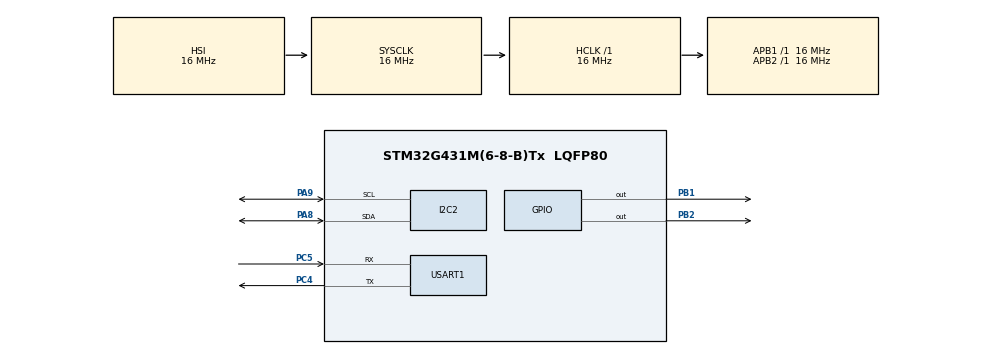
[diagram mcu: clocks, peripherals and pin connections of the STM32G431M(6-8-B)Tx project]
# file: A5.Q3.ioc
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I2C2.Timing=0x00503D58
Mcu.Family=STM32G4
Mcu.Name=STM32G431M(6-8-B)Tx
Mcu.Package=LQFP80
NVIC.PriorityGroup=NVIC_PRIORITYGROUP_4
PA13.Mode=Serial_Wire
PA13.Signal=SYS_JTMS-SWDIO
PA14.Mode=Serial_Wire
PA14.Signal=SYS_JTCK-SWCLK
PA8.Mode=I2C
PA8.Signal=I2C2_SDA
PA9.Mode=I2C
PA9.Signal=I2C2_SCL
PB1.Signal=GPIO_Output
PB2.Signal=GPIO_Output
PC4.Mode=Asynchronous
PC4.Signal=USART1_TX
PC5.Mode=Asynchronous
PC5.Signal=USART1_RX
ProjectManager.HeapSize=0x200
ProjectManager.StackSize=0x400
ProjectManager.TargetToolchain=STM32CubeIDE
RCC.AHBFreq_Value=16000000
RCC.APB1Freq_Value=16000000
RCC.APB1TimFreq_Value=16000000
RCC.APB2Freq_Value=16000000
RCC.APB2TimFreq_Value=16000000
RCC.CortexFreq_Value=16000000
RCC.EXTERNAL_CLOCK_VALUE=12288000
RCC.HCLKFreq_Value=16000000
RCC.HSE_VALUE=8000000
RCC.HSI48_VALUE=48000000
RCC.HSI_VALUE=16000000
RCC.LSE_VALUE=32768
RCC.SYSCLKFreq_VALUE=16000000
RCC.USBFreq_Value=64000000
RCC.VCOOutputFreq_Value=128000000
USART1.VirtualMode-Asynchronous=VM_ASYNC
VP_SYS_VS_DBSignals.Mode=DisableDeadBatterySignals
board=custom

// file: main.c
/* USER CODE BEGIN Header */
/**
  ******************************************************************************
  * @file           : main.c
  * @brief          : Main program body
  ******************************************************************************
  * @attention
  *
  * Copyright (c) 2024 STMicroelectronics.
  * All rights reserved.
  *
  * This software is licensed under terms that can be found in the LICENSE file
  * in the root directory of this software component.
  * If no LICENSE file comes with this software, it is provided AS-IS.
  *
  ******************************************************************************
  */
/* USER CODE END Header */
#include "main.h"

I2C_HandleTypeDef hi2c2;

UART_HandleTypeDef huart1;

void SystemClock_Config(void);
static void MX_GPIO_Init(void);
static void MX_I2C2_Init(void);
static void MX_USART1_UART_Init(void);

int main(void)
{

  /* MCU Configuration--------------------------------------------------------*/

  /* Reset of all peripherals, Initializes the Flash interface and the Systick. */
  HAL_Init();

  /* Configure the system clock */
  SystemClock_Config();

  /* Initialize all configured peripherals */
  MX_GPIO_Init();
  MX_I2C2_Init();
  MX_USART1_UART_Init();
  /* USER CODE BEGIN 2 */

#define SHT3_ADDRESS_WRITE (0x70 << 1)
#define SHT3_ADDRESS_READ (0x70 << 1) | 0x01

  uint8_t regTemp[2];
  uint8_t rawTemp[2];
  regTemp[0] = 0x7C;
  regTemp[1] = 0xA2;
  uint16_t rawTemp16;
  float temp;
  char printBuff[64]={0};

 if(HAL_I2C_IsDeviceReady(&hi2c2, SHT3_ADDRESS_WRITE, 2, 100)==0){
	 HAL_UART_Transmit(&huart1, "\n\rDevise is ready", sizeof("\n\rDevice is ready"),1000);

 }else{

	 HAL_UART_Transmit(&huart1, "\n\rDevise NOT ready", sizeof("\n\rDevice NOT ready"),1000);
	 return 0;
 }
  /* USER CODE END 2 */

  /* Infinite loop */
  /* USER CODE BEGIN WHILE */
  while (1)
  {
	  	  	HAL_I2C_Master_Transmit(&hi2c2, SHT3_ADDRESS_WRITE, regTemp, 2, 100);
	        HAL_Delay(30);

	        HAL_I2C_Master_Receive(&hi2c2, SHT3_ADDRESS_READ, rawTemp, 2, 100);

	        rawTemp16 = ((rawTemp[0]<<8) | rawTemp[1]);

	        temp = ((float)175*(float)rawTemp16/(float)65535)-(float)45;

	        sprintf(printBuff,"\n\rTemperature : %.1f Degrees", temp);

	        HAL_UART_Transmit(&huart1, printBuff, sizeof(printBuff), 100);

	        memset(printBuff,0,sizeof(printBuff));
	        HAL_Delay(2000);

	        if(temp >= 30){
	        	      HAL_GPIO_WritePin(GPIOB, GPIO_PIN_2, 0);
	        	      HAL_GPIO_WritePin(GPIOB, GPIO_PIN_1, 1);
	        	 }else{
	        	      HAL_GPIO_WritePin(GPIOB, GPIO_PIN_2, 1);
	        	      HAL_GPIO_WritePin(GPIOB, GPIO_PIN_1, 0);
	        	 }
    /* USER CODE END WHILE */

  }
}

void SystemClock_Config(void)
{
  RCC_OscInitTypeDef RCC_OscInitStruct = {0};
  RCC_ClkInitTypeDef RCC_ClkInitStruct = {0};

  /** Configure the main internal regulator output voltage
  */
  HAL_PWREx_ControlVoltageScaling(PWR_REGULATOR_VOLTAGE_SCALE1);

  /** Initializes the RCC Oscillators according to the specified parameters
  * in the RCC_OscInitTypeDef structure.
  */
  RCC_OscInitStruct.OscillatorType = RCC_OSCILLATORTYPE_HSI;
  RCC_OscInitStruct.HSIState = RCC_HSI_ON;
  RCC_OscInitStruct.HSICalibrationValue = RCC_HSICALIBRATION_DEFAULT;
  RCC_OscInitStruct.PLL.PLLState = RCC_PLL_NONE;
  if (HAL_RCC_OscConfig(&RCC_OscInitStruct) != HAL_OK)
  {
    Error_Handler();
  }

  /** Initializes the CPU, AHB and APB buses clocks
  */
  RCC_ClkInitStruct.ClockType = RCC_CLOCKTYPE_HCLK|RCC_CLOCKTYPE_SYSCLK
                              |RCC_CLOCKTYPE_PCLK1|RCC_CLOCKTYPE_PCLK2;
  RCC_ClkInitStruct.SYSCLKSource = RCC_SYSCLKSOURCE_HSI;
  RCC_ClkInitStruct.AHBCLKDivider = RCC_SYSCLK_DIV1;
  RCC_ClkInitStruct.APB1CLKDivider = RCC_HCLK_DIV1;
  RCC_ClkInitStruct.APB2CLKDivider = RCC_HCLK_DIV1;

  if (HAL_RCC_ClockConfig(&RCC_ClkInitStruct, FLASH_LATENCY_0) != HAL_OK)
  {
    Error_Handler();
  }
}

static void MX_I2C2_Init(void)
{

  hi2c2.Instance = I2C2;
  hi2c2.Init.Timing = 0x00503D58;
  hi2c2.Init.OwnAddress1 = 0;
  hi2c2.Init.AddressingMode = I2C_ADDRESSINGMODE_7BIT;
  hi2c2.Init.DualAddressMode = I2C_DUALADDRESS_DISABLE;
  hi2c2.Init.OwnAddress2 = 0;
  hi2c2.Init.OwnAddress2Masks = I2C_OA2_NOMASK;
  hi2c2.Init.GeneralCallMode = I2C_GENERALCALL_DISABLE;
  hi2c2.Init.NoStretchMode = I2C_NOSTRETCH_DISABLE;
  if (HAL_I2C_Init(&hi2c2) != HAL_OK)
  {
    Error_Handler();
  }

  /** Configure Analogue filter
  */
  if (HAL_I2CEx_ConfigAnalogFilter(&hi2c2, I2C_ANALOGFILTER_ENABLE) != HAL_OK)
  {
    Error_Handler();
  }

  /** Configure Digital filter
  */
  if (HAL_I2CEx_ConfigDigitalFilter(&hi2c2, 0) != HAL_OK)
  {
    Error_Handler();
  }

}

static void MX_USART1_UART_Init(void)
{

  huart1.Instance = USART1;
  huart1.Init.BaudRate = 115200;
  huart1.Init.WordLength = UART_WORDLENGTH_8B;
  huart1.Init.StopBits = UART_STOPBITS_1;
  huart1.Init.Parity = UART_PARITY_NONE;
  huart1.Init.Mode = UART_MODE_TX_RX;
  huart1.Init.HwFlowCtl = UART_HWCONTROL_NONE;
  huart1.Init.OverSampling = UART_OVERSAMPLING_16;
  huart1.Init.OneBitSampling = UART_ONE_BIT_SAMPLE_DISABLE;
  huart1.Init.ClockPrescaler = UART_PRESCALER_DIV1;
  huart1.AdvancedInit.AdvFeatureInit = UART_ADVFEATURE_NO_INIT;
  if (HAL_UART_Init(&huart1) != HAL_OK)
  {
    Error_Handler();
  }
  if (HAL_UARTEx_SetTxFifoThreshold(&huart1, UART_TXFIFO_THRESHOLD_1_8) != HAL_OK)
  {
    Error_Handler();
  }
  if (HAL_UARTEx_SetRxFifoThreshold(&huart1, UART_RXFIFO_THRESHOLD_1_8) != HAL_OK)
  {
    Error_Handler();
  }
  if (HAL_UARTEx_DisableFifoMode(&huart1) != HAL_OK)
  {
    Error_Handler();
  }

}

static void MX_GPIO_Init(void)
{
  GPIO_InitTypeDef GPIO_InitStruct = {0};

  /* GPIO Ports Clock Enable */
  __HAL_RCC_GPIOC_CLK_ENABLE();
  __HAL_RCC_GPIOB_CLK_ENABLE();
  __HAL_RCC_GPIOA_CLK_ENABLE();

  /*Configure GPIO pin Output Level */
  HAL_GPIO_WritePin(GPIOB, GPIO_PIN_1|GPIO_PIN_2, GPIO_PIN_RESET);

  /*Configure GPIO pins : PB1 PB2 */
  GPIO_InitStruct.Pin = GPIO_PIN_1|GPIO_PIN_2;
  GPIO_InitStruct.Mode = GPIO_MODE_OUTPUT_PP;
  GPIO_InitStruct.Pull = GPIO_NOPULL;
  GPIO_InitStruct.Speed = GPIO_SPEED_FREQ_LOW;
  HAL_GPIO_Init(GPIOB, &GPIO_InitStruct);

}

void Error_Handler(void)
{
  __disable_irq();
  while (1)
  {
  }
}
